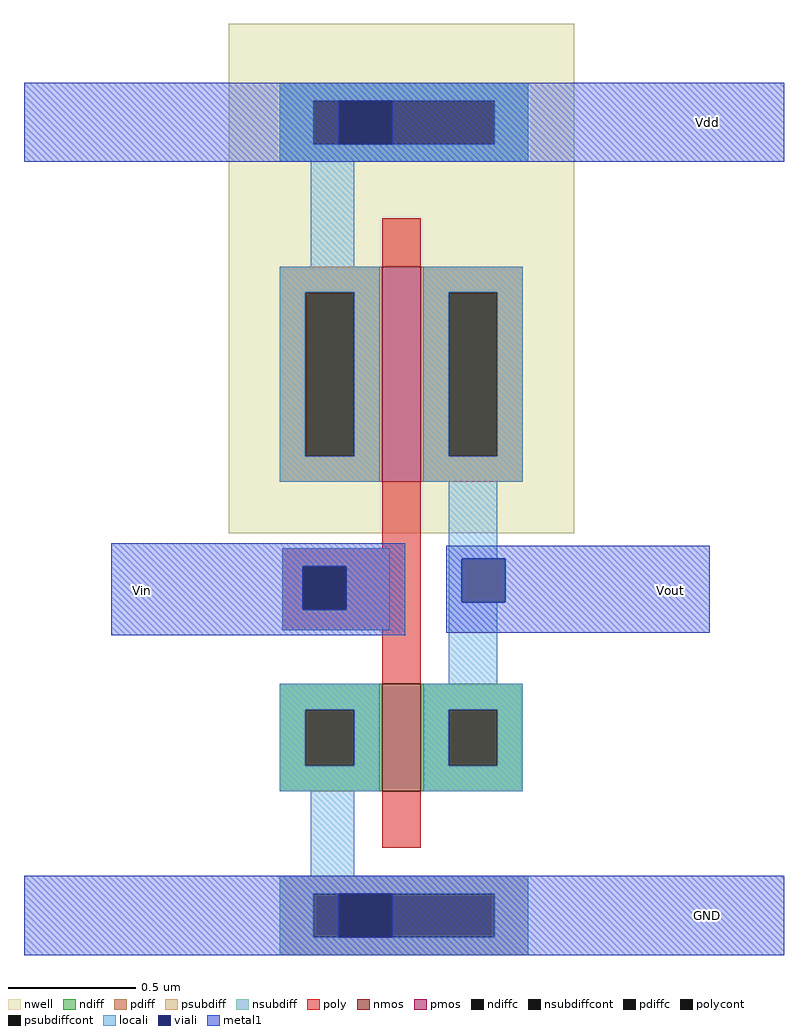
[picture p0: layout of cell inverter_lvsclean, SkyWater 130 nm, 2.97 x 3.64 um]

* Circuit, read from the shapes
.subckt inverter_lvsclean Vdd GND Vout Vin
XM1 Vout Vin GND GND sky130_fd_pr__nfet_01v8 w=0.42 l=0.15
XM2 Vout Vin Vdd Vdd sky130_fd_pr__pfet_01v8 w=0.84 l=0.15
.ends

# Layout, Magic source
magic
tech sky130A
<< nwell >>
rect -66 -59 69 140
<< nmos >>
rect -6 -160 9 -118
<< pmos >>
rect -6 -39 9 45
<< ndiff >>
rect -46 -128 -6 -118
rect -46 -150 -36 -128
rect -17 -150 -6 -128
rect -46 -160 -6 -150
rect 9 -128 49 -118
rect 9 -150 20 -128
rect 39 -150 49 -128
rect 9 -160 49 -150
<< pdiff >>
rect -46 35 -6 45
rect -46 -29 -36 35
rect -17 -29 -6 35
rect -46 -39 -6 -29
rect 9 35 49 45
rect 9 -29 20 35
rect 39 -29 49 35
rect 9 -39 49 -29
<< ndiffc >>
rect -36 -150 -17 -128
rect 20 -150 39 -128
<< pdiffc >>
rect -36 -29 -17 35
rect 20 -29 39 35
<< psubdiff >>
rect -46 -200 51 -193
rect -46 -217 -33 -200
rect 38 -217 51 -200
rect -46 -224 51 -217
<< nsubdiff >>
rect -46 110 51 117
rect -46 93 -33 110
rect 38 93 51 110
rect -46 86 51 93
<< psubdiffcont >>
rect -33 -217 38 -200
<< nsubdiffcont >>
rect -33 93 38 110
<< poly >>
rect -6 45 9 64
rect -6 -65 9 -39
rect -45 -72 9 -65
rect -45 -89 -37 -72
rect -20 -89 9 -72
rect -45 -97 9 -89
rect -6 -118 9 -97
rect -6 -182 9 -160
<< polycont >>
rect -37 -89 -20 -72
<< locali >>
rect -46 110 51 117
rect -46 93 -33 110
rect 38 93 51 110
rect -46 86 51 93
rect -34 45 -17 86
rect -46 35 -7 45
rect -46 -29 -36 35
rect -17 -29 -7 35
rect -46 -39 -7 -29
rect 10 35 49 45
rect 10 -29 20 35
rect 39 -29 49 35
rect 10 -39 49 -29
rect -45 -72 -3 -65
rect -45 -89 -37 -72
rect -20 -89 -3 -72
rect -45 -97 -3 -89
rect 20 -69 39 -39
rect 20 -86 25 -69
rect 20 -118 39 -86
rect -46 -128 -7 -118
rect -46 -150 -36 -128
rect -17 -150 -7 -128
rect -46 -160 -7 -150
rect 10 -128 49 -118
rect 10 -150 20 -128
rect 39 -150 49 -128
rect 10 -160 49 -150
rect -34 -193 -17 -160
rect -46 -200 51 -193
rect -46 -217 -33 -200
rect 38 -217 51 -200
rect -46 -224 51 -217
<< viali >>
rect -23 93 -2 110
rect -37 -89 -20 -72
rect 25 -86 42 -69
rect -23 -217 -2 -200
<< metal1 >>
rect -146 110 151 117
rect -146 93 -23 110
rect -2 93 151 110
rect -146 86 151 93
rect -112 -72 3 -63
rect -112 -89 -37 -72
rect -20 -89 3 -72
rect -112 -99 3 -89
rect 19 -69 122 -64
rect 19 -86 25 -69
rect 42 -86 122 -69
rect 19 -98 122 -86
rect -146 -200 151 -193
rect -146 -217 -23 -200
rect -2 -217 151 -200
rect -146 -224 151 -217
<< labels >>
rlabel metal1 116 96 126 107 1 Vdd
port 1 n
rlabel metal1 104 -84 109 -79 1 Vout
port 3 n
rlabel metal1 116 -214 126 -203 1 GND
port 2 n
rlabel metal1 -102 -84 -97 -79 1 Vin
port 4 n
<< end >>
